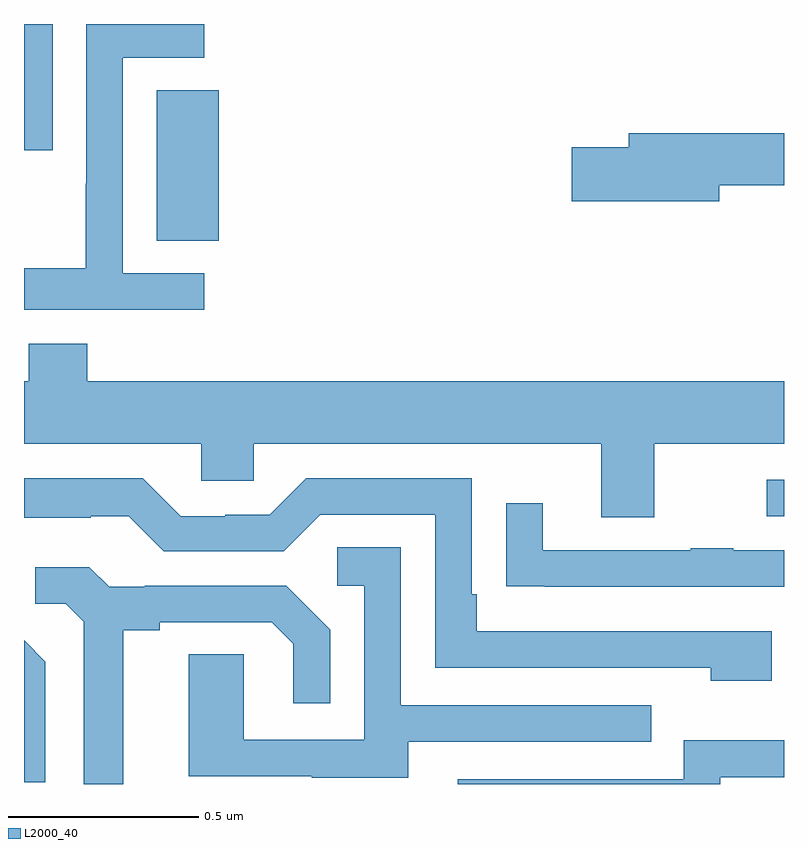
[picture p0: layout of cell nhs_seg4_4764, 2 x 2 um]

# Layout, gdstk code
import gdstk
lib = gdstk.Library(unit=1e-6, precision=1e-09)
def R(c, l, rs):  # rectangles x0, y0, x1, y1
    for r in rs: c.add(gdstk.rectangle(r[:2], r[2:], *l))
def P(c, l, *ps):  # polygons
    for p in ps: c.add(gdstk.Polygon(p, *l))
L2000_40 = (2000, 40)

nhs_seg4_4764 = lib.new_cell('nhs_seg4_4764')
R(nhs_seg4_4764, L2000_40, [(170.955,820.605,171,820.701), (169.349,821.329,169.513,821.726), (169,821.568,169.075,821.9)])
P(nhs_seg4_4764, L2000_40, [(169.474,821.244),(169.26,821.244),(169.26,821.811),(169.474,821.811),(169.474,821.9),(169.164,821.9),(169.164,821.48),(169.162,821.48),(169.162,821.257),(169,821.257),(169,821.148),(169.474,821.148)],
  [(170.83,821.476),(171,821.476),(171,821.612),(170.591,821.612),(170.591,821.576),(170.442,821.576),(170.442,821.434),(170.83,821.434)],
  [(170.659,820.796),(171,820.796),(171,820.96),(169.166,820.96),(169.166,821.059),(169.013,821.059),(169.013,820.96),(169,820.96),(169,820.796),(169.467,820.796),(169.467,820.698),(169.605,820.698),(169.605,820.796),(170.519,820.796),(170.519,820.602),(170.659,820.602)],
  [(170.968,820.302),(170.191,820.302),(170.191,820.399),(170.178,820.399),(170.178,820.704),(169.743,820.704),(169.647,820.608),(169.529,820.608),(169.529,820.605),(169.413,820.605),(169.313,820.705),(169,820.705),(169,820.601),(169.175,820.601),(169.175,820.605),(169.275,820.605),(169.368,820.512),(169.683,820.512),(169.779,820.608),(170.082,820.608),(170.082,820.206),(170.807,820.206),(170.807,820.172),(170.968,820.172)],
  [(171,820.515),(170.867,820.515),(170.867,820.52),(170.755,820.52),(170.755,820.515),(170.365,820.515),(170.365,820.639),(170.269,820.639),(170.269,820.42),(170.371,820.42),(170.371,820.419),(171,820.419)],
  [(170.011,820.011),(170.651,820.011),(170.651,820.107),(169.992,820.107),(169.992,820.523),(169.824,820.523),(169.824,820.422),(169.896,820.422),(169.896,820.017),(169.578,820.017),(169.578,820.241),(169.433,820.241),(169.433,819.921),(169.757,819.921),(169.757,819.917),(170.011,819.917)],
  [(169.261,820.304),(169.357,820.304),(169.357,820.326),(169.652,820.326),(169.709,820.269),(169.709,820.113),(169.806,820.113),(169.806,820.306),(169.69,820.422),(169.318,820.422),(169.318,820.419),(169.224,820.419),(169.172,820.471),(169.029,820.471),(169.029,820.374),(169.11,820.374),(169.157,820.327),(169.157,819.9),(169.261,819.9)],
  [(169.056,820.222),(169,820.278),(169,819.904),(169.056,819.904)],
  [(170.832,819.918),(171,819.918),(171,820.015),(170.736,820.015),(170.736,819.912),(170.141,819.912),(170.141,819.9),(170.832,819.9)])

lib.write_gds('nhs_seg4_4764.gds')
